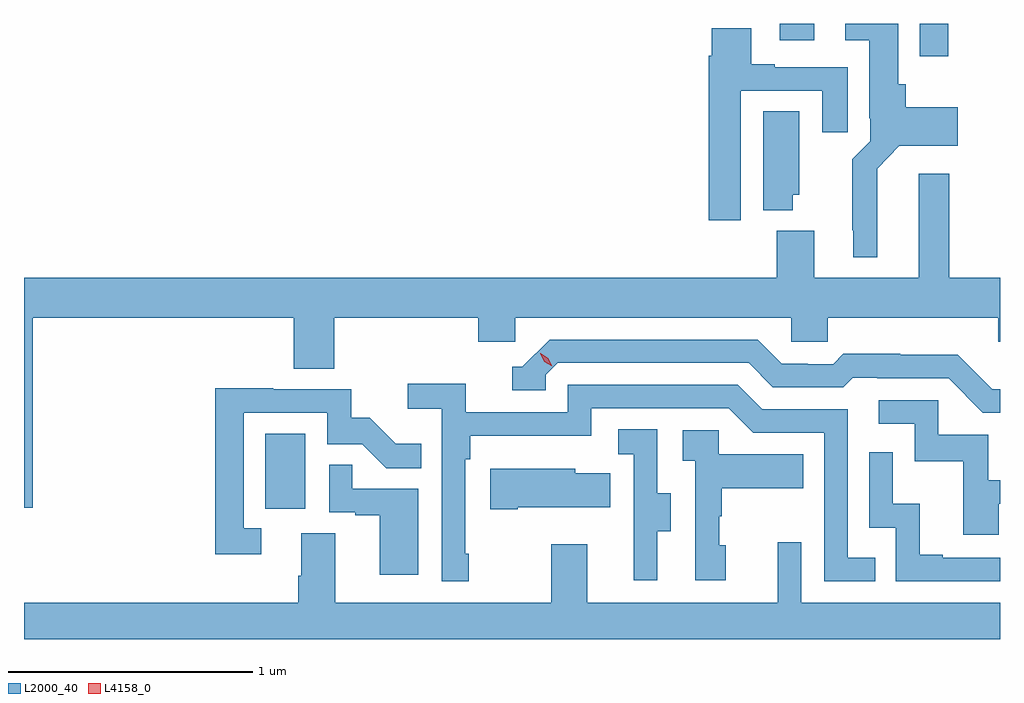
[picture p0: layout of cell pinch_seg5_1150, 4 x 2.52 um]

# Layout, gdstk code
import gdstk
lib = gdstk.Library(unit=1e-6, precision=1e-09)
def R(c, l, rs):  # rectangles x0, y0, x1, y1
    for r in rs: c.add(gdstk.rectangle(r[:2], r[2:], *l))
def P(c, l, *ps):  # polygons
    for p in ps: c.add(gdstk.Polygon(p, *l))
L2000_40 = (2000, 40)
L4158_0 = (4158, 0)

pinch_seg5_1150 = lib.new_cell('pinch_seg5_1150')
R(pinch_seg5_1150, L2000_40, [(878.384,833.334,878.548,833.641), (881.067,835.188,881.183,835.321), (880.493,835.254,880.633,835.321)])
P(pinch_seg5_1150, L2000_40, [(880.891,834.728),(880.983,834.821),(881.221,834.821),(881.221,834.979),(881.009,834.979),(881.009,835.074),(880.978,835.074),(880.978,835.321),(880.761,835.321),(880.761,835.253),(880.859,835.253),(880.859,834.934),(880.863,834.934),(880.863,834.84),(880.789,834.766),(880.789,834.475),(880.793,834.475),(880.793,834.365),(880.891,834.365)],
  [(880.333,835.047),(880.667,835.047),(880.667,834.876),(880.771,834.876),(880.771,835.143),(880.471,835.143),(880.471,835.156),(880.375,835.156),(880.375,835.303),(880.214,835.303),(880.214,835.19),(880.202,835.19),(880.202,834.516),(880.333,834.516)],
  [(880.546,834.621),(880.573,834.621),(880.573,834.962),(880.424,834.962),(880.424,834.557),(880.546,834.557)],
  [(877.43,834.116),(878.501,834.116),(878.501,833.908),(878.666,833.908),(878.666,834.116),(879.257,834.116),(879.257,834.018),(879.408,834.018),(879.408,834.116),(880.539,834.116),(880.539,834.018),(880.689,834.018),(880.689,834.116),(881.387,834.116),(881.387,834.018),(881.395,834.018),(881.395,834.28),(881.186,834.28),(881.186,834.706),(881.063,834.706),(881.063,834.28),(880.633,834.28),(880.633,834.472),(880.481,834.472),(880.481,834.28),(877.395,834.28),(877.395,833.337),(877.43,833.337)],
  [(881.395,833.823),(881.364,833.823),(881.222,833.965),(880.986,833.965),(880.986,833.968),(880.753,833.968),(880.711,833.925),(880.608,833.925),(880.608,833.928),(880.501,833.928),(880.402,834.027),(879.549,834.027),(879.438,833.916),(879.395,833.916),(879.395,833.82),(879.534,833.82),(879.534,833.883),(879.582,833.931),(880.365,833.931),(880.464,833.832),(880.753,833.832),(880.792,833.871),(880.891,833.871),(880.891,833.868),(881.184,833.868),(881.325,833.727),(881.395,833.727)],
  [(879.217,833.149),(879.204,833.149),(879.204,833.537),(879.224,833.537),(879.224,833.633),(879.72,833.633),(879.72,833.745),(880.284,833.745),(880.383,833.646),(880.674,833.646),(880.674,833.037),(880.883,833.037),(880.883,833.133),(880.77,833.133),(880.77,833.742),(880.42,833.742),(880.321,833.841),(879.624,833.841),(879.624,833.73),(879.206,833.73),(879.206,833.846),(878.967,833.846),(878.967,833.744),(879.108,833.744),(879.108,833.037),(879.217,833.037)],
  [(878.368,833.253),(878.295,833.253),(878.295,833.727),(878.637,833.727),(878.637,833.598),(878.781,833.598),(878.879,833.5),(879.023,833.5),(879.023,833.599),(878.919,833.599),(878.812,833.706),(878.736,833.706),(878.736,833.823),(878.417,833.823),(878.417,833.828),(878.179,833.828),(878.179,833.148),(878.368,833.148)],
  [(881.389,833.355),(881.395,833.355),(881.395,833.451),(881.347,833.451),(881.347,833.637),(881.142,833.637),(881.142,833.778),(880.899,833.778),(880.899,833.682),(881.046,833.682),(881.046,833.529),(881.245,833.529),(881.245,833.226),(881.389,833.226)],
  [(879.991,833.242),(880.045,833.242),(880.045,833.397),(879.99,833.397),(879.99,833.66),(879.831,833.66),(879.831,833.557),(879.894,833.557),(879.894,833.253),(879.893,833.253),(879.893,833.04),(879.991,833.04)],
  [(880.27,833.184),(880.245,833.184),(880.245,833.303),(880.255,833.303),(880.255,833.417),(880.589,833.417),(880.589,833.557),(880.242,833.557),(880.242,833.655),(880.095,833.655),(880.095,833.531),(880.146,833.531),(880.146,833.04),(880.27,833.04)],
  [(881.395,833.133),(881.161,833.133),(881.161,833.146),(881.066,833.146),(881.066,833.354),(880.956,833.354),(880.956,833.566),(880.86,833.566),(880.86,833.256),(880.968,833.256),(880.968,833.037),(881.395,833.037)],
  [(879.01,833.415),(878.741,833.415),(878.741,833.513),(878.646,833.513),(878.646,833.319),(878.753,833.319),(878.753,833.307),(878.852,833.307),(878.852,833.064),(879.01,833.064)],
  [(879.418,833.339),(879.797,833.339),(879.797,833.479),(879.654,833.479),(879.654,833.497),(879.306,833.497),(879.306,833.332),(879.418,833.332)],
  [(880.484,833.197),(880.484,832.948),(879.703,832.948),(879.703,833.188),(879.556,833.188),(879.556,832.948),(878.671,832.948),(878.671,833.234),(878.531,833.234),(878.531,833.06),(878.519,833.06),(878.519,832.948),(877.395,832.948),(877.395,832.799),(881.395,832.799),(881.395,832.948),(880.581,832.948),(880.581,833.197)])
P(pinch_seg5_1150, L4158_0, [(879.559,833.918),(879.528,833.937),(879.511,833.969),(879.511,833.97),(879.512,833.97),(879.543,833.95),(879.559,833.918),(879.559,833.918)])

lib.write_gds('pinch_seg5_1150.gds')
